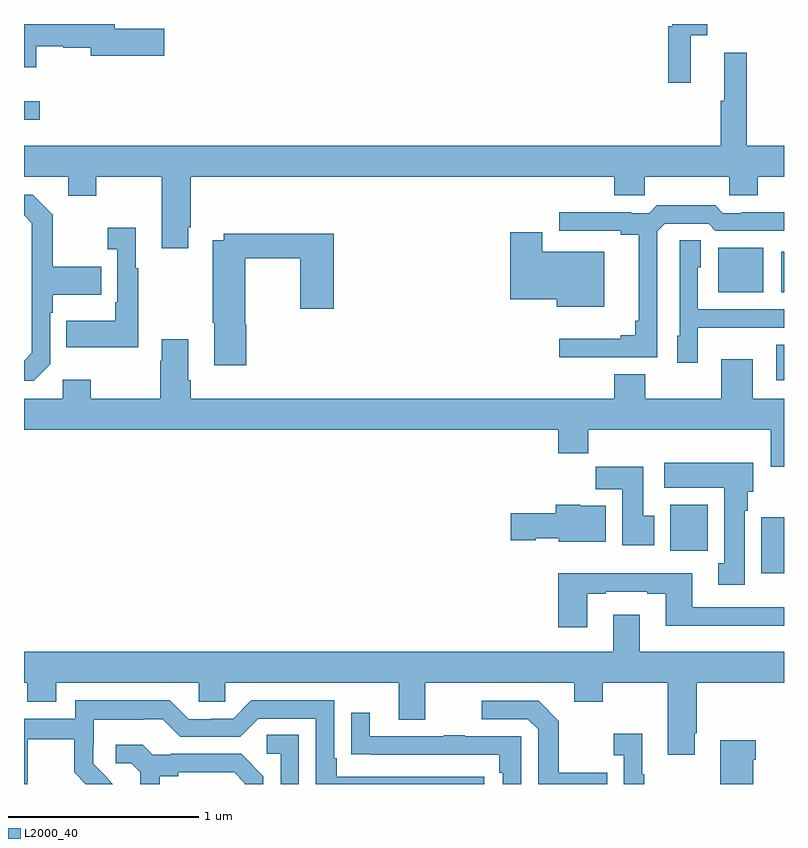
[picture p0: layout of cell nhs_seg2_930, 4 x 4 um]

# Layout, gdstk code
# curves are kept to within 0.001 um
import gdstk
lib = gdstk.Library(unit=1e-6, precision=1e-09)
def R(c, l, rs):  # rectangles x0, y0, x1, y1
    for r in rs: c.add(gdstk.rectangle(r[:2], r[2:], *l))
def P(c, l, *ps):  # polygons
    for p in ps: c.add(gdstk.Polygon(p, *l))
L2000_40 = (2000, 40)

nhs_seg2_930 = lib.new_cell('nhs_seg2_930')
R(nhs_seg2_930, L2000_40, [(162.881,618.908,163,619.204), (162.401,619.028,162.598,619.27), (162.959,619.926,163,620.112), (162.653,620.387,162.892,620.623), (162.986,620.387,163,620.602), (159,621.296,159.082,621.393)])
P(nhs_seg2_930, L2000_40, [(159.064,621.684),(159.207,621.684),(159.207,621.676),(159.35,621.676),(159.35,621.634),(159.739,621.634),(159.739,621.776),(159.478,621.776),(159.478,621.8),(159,621.8),(159,621.572),(159.064,621.572)],
  [(162.509,621.74),(162.595,621.74),(162.595,621.8),(162.411,621.8),(162.411,621.788),(162.391,621.788),(162.391,621.492),(162.509,621.492)],
  [(159.865,620.731),(159.878,620.731),(159.878,620.996),(162.107,620.996),(162.107,620.898),(162.267,620.898),(162.267,620.996),(162.712,620.996),(162.712,620.898),(162.862,620.898),(162.862,620.996),(163,620.996),(163,621.16),(162.803,621.16),(162.803,621.649),(162.686,621.649),(162.686,621.396),(162.667,621.396),(162.667,621.16),(159,621.16),(159,620.996),(159.233,620.996),(159.233,620.897),(159.381,620.897),(159.381,620.996),(159.725,620.996),(159.725,620.619),(159.865,620.619)],
  [(159.138,620.01),(159.138,620.279),(159.151,620.279),(159.151,620.375),(159.407,620.375),(159.407,620.523),(159.151,620.523),(159.151,620.795),(159.045,620.901),(159,620.901),(159,620.793),(159.042,620.751),(159.042,620.07),(159,620.028),(159,619.923),(159.051,619.923)],
  [(162.333,620.709),(162.372,620.748),(162.603,620.748),(162.639,620.712),(163,620.712),(163,620.81),(162.778,620.81),(162.778,620.805),(162.678,620.805),(162.639,620.845),(162.331,620.845),(162.291,620.805),(162.197,620.805),(162.197,620.81),(161.817,620.81),(161.817,620.712),(162.14,620.712),(162.14,620.69),(162.236,620.69),(162.236,620.239),(162.217,620.239),(162.217,620.162),(162.14,620.162),(162.14,620.143),(161.817,620.143),(161.817,620.046),(162.333,620.046)],
  [(159.601,620.515),(159.589,620.515),(159.589,620.728),(159.441,620.728),(159.441,620.615),(159.492,620.615),(159.492,620.335),(159.48,620.335),(159.48,620.239),(159.223,620.239),(159.223,620.099),(159.601,620.099)],
  [(162.055,620.602),(161.728,620.602),(161.728,620.704),(161.558,620.704),(161.558,620.351),(161.804,620.351),(161.804,620.312),(162.055,620.312)],
  [(160.169,620.216),(160.164,620.216),(160.164,620.566),(160.453,620.566),(160.453,620.301),(160.631,620.301),(160.631,620.695),(160.05,620.695),(160.05,620.662),(159.994,620.662),(159.994,620.227),(160.001,620.227),(160.001,620.004),(160.169,620.004)],
  [(162.546,620.201),(162.863,620.201),(162.863,620.202),(163,620.202),(163,620.298),(162.546,620.298),(162.546,620.52),(162.562,620.52),(162.562,620.663),(162.45,620.663),(162.45,620.16),(162.437,620.16),(162.437,620.016),(162.546,620.016)],
  [(163,619.828),(162.835,619.828),(162.835,620.035),(162.671,620.035),(162.671,619.828),(162.271,619.828),(162.271,619.957),(162.107,619.957),(162.107,619.828),(159.878,619.828),(159.878,619.924),(159.865,619.924),(159.865,620.14),(159.725,620.14),(159.725,620.027),(159.718,620.027),(159.718,619.828),(159.351,619.828),(159.351,619.927),(159.204,619.927),(159.204,619.828),(159,619.828),(159,619.664),(161.813,619.664),(161.813,619.54),(161.969,619.54),(161.969,619.664),(162.929,619.664),(162.929,619.47),(163,619.47)],
  [(162.793,619.238),(162.808,619.238),(162.808,619.338),(162.838,619.338),(162.838,619.492),(162.369,619.492),(162.369,619.358),(162.686,619.358),(162.686,618.962),(162.653,618.962),(162.653,618.849),(162.793,618.849)],
  [(162.316,619.212),(162.259,619.212),(162.259,619.471),(162.01,619.471),(162.01,619.352),(162.149,619.352),(162.149,619.056),(162.316,619.056)],
  [(162.061,619.264),(161.928,619.264),(161.928,619.27),(161.798,619.27),(161.798,619.224),(161.562,619.224),(161.562,619.082),(161.694,619.082),(161.694,619.094),(161.814,619.094),(161.814,619.076),(162.061,619.076)],
  [(161.965,618.801),(162.061,618.801),(162.061,618.813),(162.281,618.813),(162.281,618.801),(162.377,618.801),(162.377,618.632),(163,618.632),(163,618.729),(162.517,618.729),(162.517,618.91),(161.813,618.91),(161.813,618.624),(161.965,618.624)],
  [(162.529,618.067),(162.542,618.067),(162.542,618.332),(163,618.332),(163,618.496),(162.241,618.496),(162.241,618.691),(162.101,618.691),(162.101,618.496),(159,618.496),(159,618.332),(159.017,618.332),(159.017,618.233),(159.169,618.233),(159.169,618.332),(159.921,618.332),(159.921,618.234),(160.059,618.234),(160.059,618.332),(160.973,618.332),(160.973,618.138),(161.113,618.138),(161.113,618.332),(161.897,618.332),(161.897,618.233),(162.045,618.233),(162.045,618.332),(162.389,618.332),(162.389,617.955),(162.529,617.955)],
  [(159.018,617.812),(159.021,617.812),(159.021,618.036),(159.265,618.036),(159.265,617.861),(159.326,617.8),(159.468,617.8),(159.364,617.906),(159.364,618.003),(159.366,618.003),(159.366,618.137),(159.629,618.137),(159.629,618.141),(159.729,618.141),(159.822,618.048),(160.137,618.048),(160.233,618.144),(160.536,618.144),(160.536,617.8),(161.422,617.8),(161.422,617.838),(160.645,617.838),(160.645,617.935),(160.632,617.935),(160.632,618.24),(160.197,618.24),(160.101,618.144),(159.983,618.144),(159.983,618.141),(159.867,618.141),(159.767,618.241),(159.27,618.241),(159.27,618.144),(159,618.144),(159,617.8),(159.018,617.8)],
  [(162.071,617.859),(161.815,617.859),(161.815,618.131),(161.709,618.237),(161.409,618.237),(161.409,618.141),(161.652,618.141),(161.706,618.087),(161.706,617.8),(162.071,617.8)],
  [(161.616,618.051),(161.321,618.051),(161.321,618.056),(161.209,618.056),(161.209,618.051),(160.819,618.051),(160.819,618.175),(160.723,618.175),(160.723,617.956),(160.825,617.956),(160.825,617.955),(161.5,617.955),(161.5,617.858),(161.52,617.858),(161.52,617.8),(161.616,617.8)],
  [(162.265,617.851),(162.253,617.851),(162.253,618.064),(162.105,618.064),(162.105,617.951),(162.156,617.951),(162.156,617.8),(162.265,617.8)],
  [(160.446,618.059),(160.278,618.059),(160.278,617.958),(160.35,617.958),(160.35,617.8),(160.446,617.8)],
  [(162.838,617.927),(162.851,617.927),(162.851,618.031),(162.665,618.031),(162.665,617.8),(162.838,617.8)],
  [(159.715,617.84),(159.811,617.84),(159.811,617.862),(160.106,617.862),(160.163,617.805),(160.163,617.8),(160.26,617.8),(160.26,617.842),(160.144,617.958),(159.772,617.958),(159.772,617.955),(159.678,617.955),(159.626,618.007),(159.483,618.007),(159.483,617.91),(159.564,617.91),(159.611,617.863),(159.611,617.8),(159.715,617.8)])

lib.write_gds('nhs_seg2_930.gds')
